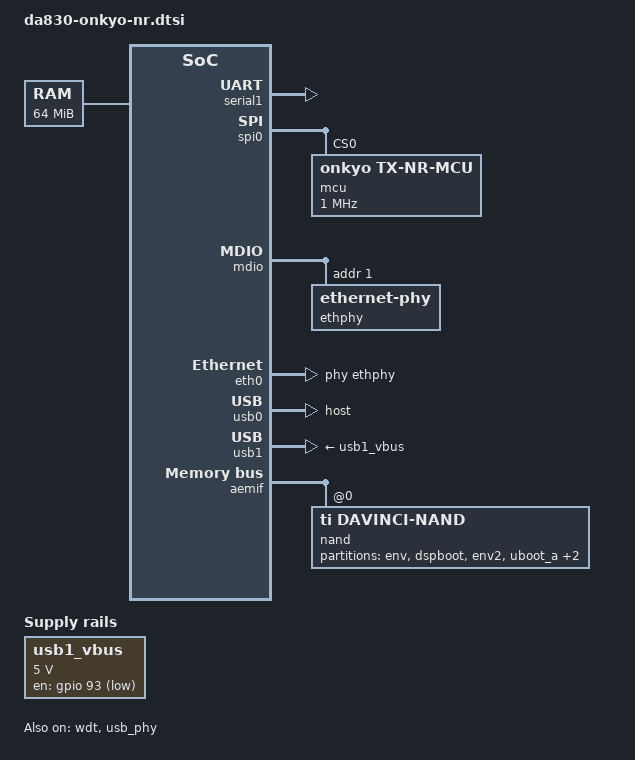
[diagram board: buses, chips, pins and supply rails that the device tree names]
// SPDX-License-Identifier: GPL-2.0-only
/*
 * Onkyo DSP board: DA830 (OMAP-L137), 20 MHz crystal, 64 MiB SDRAM, NAND
 * on EMIFA CS3, RMII Ethernet, console on UART1, SPI0 to the receiver's
 * main MCU.
 */
#include <dt-bindings/gpio/gpio.h>
#include "da830.dtsi"

/ {
	aliases {
		serial1 = &serial1;
		ethernet0 = &eth0;
		spi0 = &spi0;
	};

	chosen {
		stdout-path = "serial1:115200n8";
	};

	memory@c0000000 {
		device_type = "memory";
		reg = <0xc0000000 0x04000000>;
	};

	/* the rear USB port's power switch, GP5[13] low = on */
	usb1_vbus: regulator-usb1-vbus {
		compatible = "regulator-fixed";
		regulator-name = "usb1_vbus";
		regulator-min-microvolt = <5000000>;
		regulator-max-microvolt = <5000000>;
		gpio = <&gpio 93 GPIO_ACTIVE_LOW>;
	};

	rmii_clk: clock-rmii {
		compatible = "fixed-clock";
		#clock-cells = <0>;
		clock-frequency = <50000000>;
		clock-output-names = "rmii_ref";
	};

	reserved-memory {
		#address-cells = <1>;
		#size-cells = <1>;
		ranges;

		/* the DSP's A/V sync buffer and decoder */
		dsp@c3800000 {
			reg = <0xc3800000 0x00800000>;
			no-map;
		};
	};
};

&ref_clk {
	clock-frequency = <20000000>;
};

&pmx_core {
	status = "okay";
	pinctrl-names = "default";
	pinctrl-0 = <&uart1_pins>, <&spi0_pins>, <&control_pins>,
		    <&mcasp1_pins>, <&emac_pins>, <&nand_pins>, <&usb_pins>,
		    <&i2c0_pins>;

	uart1_pins: uart1-pins {
		pinctrl-single,bits = <
			/* UART1_TXD UART1_RXD */
			0x2c 0x00001100 0x0000ff00
		>;
	};
	spi0_pins: spi0-pins {
		pinctrl-single,bits = <
			/* NSPI0_SCS_0, SPI0_CLK, SPI0_SIMO_0, SPI0_SOMI_0 */
			0x1c 0x10111000 0xf0fff000
		>;
	};
	/*
	 * Control lines as GPIOs: DIGMUT GP1[0], ARMZ2MUT GP1[8], DBG/AUDIO
	 * GP1[13], DIG_TUNER GP5[3], USB0_OC_DET GP2[15], DATA_NET GP2[8],
	 * ARM_CS GP1[14], ARM_RDY GP2[2]. The others here, GP2[9], GP4[11],
	 * GP4[14], GP1[9-12] and GP2[0-1], are wired differently by model
	 * (see its .dts); nothing drives them here.
	 */
	control_pins: control-pins {
		pinctrl-single,bits = <
			0x1c 0x08000000 0x0f000000
			0x24 0x08000000 0x0f000000
			0x30 0x00008008 0x0000f00f
			0x3c 0x08000000 0x0f000000
			0x40 0x88000000 0xff000000
			0x44 0x88088888 0xff0fffff
			0x48 0x88000008 0xff00000f
		>;
	};
	/*
	 * McASP1 for the DSP: AHCLKX1 MCLK from the PCM9211, ACLKX1/AFSX1
	 * and AXR1_0-3 to the PCM1690, ACLKR1/AFSR1 and AXR1_4-5 in. AMUTE1
	 * stays GP4[14].
	 */
	mcasp1_pins: mcasp1-pins {
		pinctrl-single,bits = <
			0x2c 0x11100000 0xfff00000
			0x30 0x11110110 0xffff0ff0
			0x34 0x00000011 0x000000ff
		>;
	};
	/* RMII, MDIO, the 50 MHz reference clock out, PHY interrupt GP3[12] */
	emac_pins: emac-pins {
		pinctrl-single,bits = <
			0x24 0x80200000 0xf0f00000
			0x28 0x22222220 0xfffffff0
			0x2c 0x00000022 0x000000ff
		>;
	};
	/* EMA_D[7:0], EMA_A[2:1], EMA_WE, EMA_CS[3], EMA_OE, EMA_WAIT[0] */
	nand_pins: nand-pins {
		pinctrl-single,bits = <
			0x34 0x11000000 0xff000000
			0x38 0x00111111 0x00ffffff
			0x3c 0x10000000 0xf0000000
			0x40 0x00000001 0x0000000f
			0x48 0x00110010 0x00ff00f0
			0x4c 0x00000001 0x0000000f
		>;
	};
	/* USB0_DRVVBUS, rear USB VBUS GP5[13] and overcurrent GP5[12] */
	usb_pins: usb-pins {
		pinctrl-single,bits = <
			0x20 0x80000000 0xf0000000
			0x24 0x00000018 0x000000ff
		>;
	};
	i2c0_pins: i2c0-pins {
		pinctrl-single,bits = <
			/* I2C0_SDA I2C0_SCL */
			0x20 0x00022000 0x000ff000
		>;
	};
};

&serial1 {
	status = "okay";
};

&wdt {
	status = "okay";
};

&gpio {
	status = "okay";
};

&spi0 {
	status = "okay";

	/* the receiver's main MCU; mcud talks to it through spidev */
	mcu@0 {
		compatible = "onkyo,tx-nr-mcu";
		reg = <0>;
		spi-max-frequency = <1000000>;
	};
};

&mdio {
	status = "okay";
	bus_freq = <2200000>;

	ethphy: ethernet-phy@1 {
		reg = <1>;
		clocks = <&rmii_clk>;
		clock-names = "rmii-ref";
	};
};

&eth0 {
	status = "okay";
	ti,davinci-rmii-en = /bits/ 8 <1>;
	phy-handle = <&ethphy>;
};

&usb_phy {
	status = "okay";
};

/* USB0 is a host; the controller switches VBUS through USB0_DRVVBUS */
&usb0 {
	status = "okay";
	dr_mode = "host";
};

/* USB1 is the rear port, over-current on GP5[12], low active */
&usb1 {
	status = "okay";
	vbus-supply = <&usb1_vbus>;
	oc-gpios = <&gpio 92 GPIO_ACTIVE_LOW>;
};

&aemif {
	status = "okay";

	cs3 {
		#address-cells = <2>;
		#size-cells = <1>;
		clock-ranges;
		ranges;

		ti,cs-chipselect = <3>;
		ti,cs-read-setup-ns = <19>;
		ti,cs-read-strobe-ns = <50>;
		ti,cs-read-hold-ns = <0>;
		ti,cs-write-setup-ns = <24>;
		ti,cs-write-strobe-ns = <21>;
		ti,cs-write-hold-ns = <14>;
		ti,cs-min-turnaround-ns = <20>;

		nand@2000000,0 {
			compatible = "ti,davinci-nand";
			reg = <0 0x02000000 0x02000000
			       1 0x00000000 0x00008000>;

			ti,davinci-chipselect = <1>;
			ti,davinci-mask-ale = <0>;
			ti,davinci-mask-cle = <0>;
			ti,davinci-mask-chipsel = <0>;
			ti,davinci-ecc-mode = "hw";
			ti,davinci-ecc-bits = <4>;
			ti,davinci-nand-use-bbt;
			nand-is-boot-medium;

			/* for 16 KiB blocks; U-Boot lays them out for the chip */
			partitions {
				compatible = "fixed-partitions";
				#address-cells = <1>;
				#size-cells = <1>;

				partition@0 {
					label = "env";
					reg = <0x000000 0x004000>;
				};
				partition@4000 {
					label = "dspboot";
					reg = <0x004000 0x0fc000>;
				};
				partition@100000 {
					label = "env2";
					reg = <0x100000 0x040000>;
				};
				partition@140000 {
					label = "uboot_a";
					reg = <0x140000 0x080000>;
				};
				partition@1c0000 {
					label = "uboot_b";
					reg = <0x1c0000 0x080000>;
				};
				partition@240000 {
					label = "ubi";
					reg = <0x240000 0>;
				};
			};
		};
	};
};
